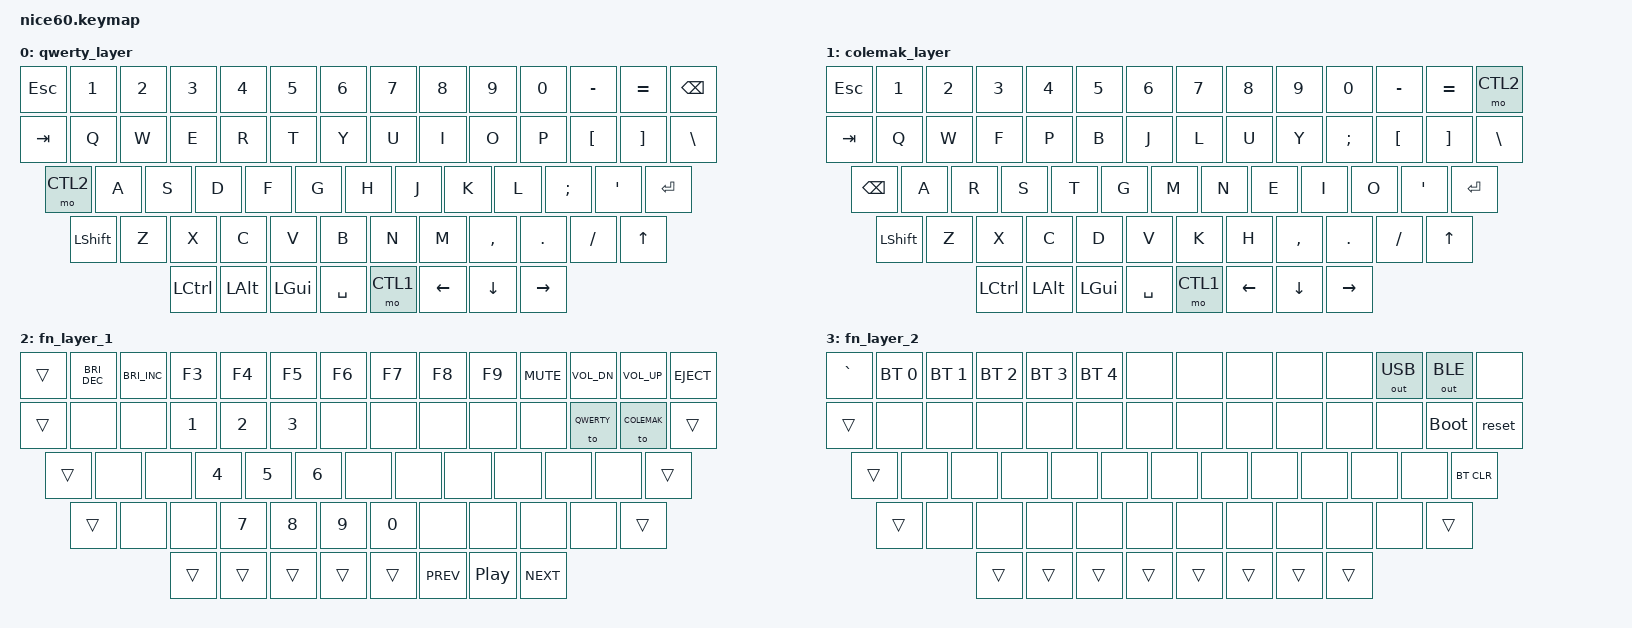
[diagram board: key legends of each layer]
/*
 * Copyright (c) 2020 The ZMK Contributors
 *
 * SPDX-License-Identifier: MIT
 */

#include <behaviors.dtsi>
#include <dt-bindings/zmk/keys.h>
#include <dt-bindings/zmk/bt.h>
#include <dt-bindings/zmk/outputs.h>

#define QWERTY 0
#define COLEMAK 1
#define CTL1 2
#define CTL2 3

/ {
	keymap0: keymap {
		compatible = "zmk,keymap";

		qwerty_layer {
			bindings = <
// ┌──────────┬───────────┬───────────┬───────────┬───────────┬───────────┬───────────┬───────────┬───────────┬───────────┬───────────┬───────────┬───────────┬──────────────────┐
     &kp ESC      &kp N1      &kp N2      &kp N3      &kp N4      &kp N5      &kp N6      &kp N7      &kp N8      &kp N9      &kp N0    &kp MINUS   &kp EQUAL        &kp BSPC
// ├──────────┴───┬───────┴───┬───────┴───┬───────┴───┬───────┴───┬───────┴───┬───────┴───┬───────┴───┬───────┴───┬───────┴───┬───────┴───┬───────┴───┬───────┴───┬──────────────┤
       &kp TAB        &kp Q       &kp W       &kp E       &kp R       &kp T       &kp Y       &kp U       &kp I       &kp O       &kp P      &kp LBKT    &kp RBKT      &kp BSLH
// ├──────────────┴──┬────────┴───┬───────┴────┬──────┴────┬──────┴────┬──────┴────┬──────┴────┬──────┴────┬──────┴────┬──────┴────┬──────┴────┬──────┴────┬──────┴──────────────┤
        &mo CTL2          &kp A        &kp S       &kp D       &kp F       &kp G       &kp H       &kp J       &kp K       &kp L      &kp SEMI    &kp SQT           &kp RET
// ├─────────────────┴────┬───────┴────┬───────┴────┬──────┴─────┬─────┴──────┬────┴───────┬───┴───────┬───┴───────┬───┴───────┬───┴───────┬───┴───────┬───┴─────────────────────┤
          &kp LSHFT            &kp Z        &kp X        &kp C        &kp V        &kp B       &kp N       &kp M     &kp COMMA    &kp DOT     &kp FSLH             &kp UP
// ├──────────────┬───────┴────────┬───┴────────────┼────────────┴────────────┴────────────┴───────────┴──────────┬┴───────────┴───┬───────┴───────┬───┴───────────┬─────────────┤
      &kp LCTRL        &kp LALT         &kp LGUI                               &kp SPACE                               &mo CTL1         &kp LEFT        &kp DOWN       &kp RIGHT
// └──────────────┴────────────────┴────────────────┴─────────────────────────────────────────────────────────────┴────────────────┴───────────────┴───────────────┴─────────────┘
			>;
		};

		colemak_layer {
			bindings = <
// ┌──────────┬───────────┬───────────┬───────────┬───────────┬───────────┬───────────┬───────────┬───────────┬───────────┬───────────┬───────────┬───────────┬──────────────────┐
     &kp ESC      &kp N1      &kp N2      &kp N3      &kp N4      &kp N5      &kp N6      &kp N7      &kp N8      &kp N9      &kp N0    &kp MINUS   &kp EQUAL        &mo CTL2
// ├──────────┴───┬───────┴───┬───────┴───┬───────┴───┬───────┴───┬───────┴───┬───────┴───┬───────┴───┬───────┴───┬───────┴───┬───────┴───┬───────┴───┬───────┴───┬──────────────┤
       &kp TAB        &kp Q       &kp W       &kp F       &kp P       &kp B       &kp J       &kp L       &kp U       &kp Y      &kp SEMI    &kp LBKT    &kp RBKT      &kp BSLH
// ├──────────────┴──┬────────┴───┬───────┴────┬──────┴────┬──────┴────┬──────┴────┬──────┴────┬──────┴────┬──────┴────┬──────┴────┬──────┴────┬──────┴────┬──────┴──────────────┤
        &kp BSPC          &kp A        &kp R       &kp S       &kp T       &kp G       &kp M       &kp N       &kp E       &kp I       &kp O      &kp SQT           &kp RET
// ├─────────────────┴────┬───────┴────┬───────┴────┬──────┴─────┬─────┴──────┬────┴───────┬───┴───────┬───┴───────┬───┴───────┬───┴───────┬───┴───────┬───┴─────────────────────┤
          &kp LSHFT            &kp Z        &kp X        &kp C        &kp D        &kp V       &kp K       &kp H     &kp COMMA    &kp DOT     &kp FSLH             &kp UP
// ├──────────────┬───────┴────────┬───┴────────────┼────────────┴────────────┴────────────┴───────────┴──────────┬┴───────────┴───┬───────┴───────┬───┴───────────┬─────────────┤
      &kp LCTRL        &kp LALT         &kp LGUI                               &kp SPACE                               &mo CTL1         &kp LEFT        &kp DOWN       &kp RIGHT
// └──────────────┴────────────────┴────────────────┴─────────────────────────────────────────────────────────────┴────────────────┴───────────────┴───────────────┴─────────────┘
			>;
		};

		fn_layer_1 {
			bindings = <
// ┌──────────────┬───────────────┬───────────────┬───────────────┬───────────────┬───────────────┬───────────────┬───────────────┬───────────────┬───────────────┬───────────────┬───────────────┬───────────────┬──────────────────────────┐
       &trans       &kp C_BRI_DEC   &kp C_BRI_INC       &kp F3          &kp F4          &kp F5          &kp F6          &kp F7          &kp F8          &kp F9        &kp C_MUTE     &kp C_VOL_DN    &kp C_VOL_UP           &kp C_EJECT
// ├──────────────┴─────┬─────────┴─────┬─────────┴─────┬─────────┴─────┬─────────┴─────┬─────────┴─────┬─────────┴─────┬─────────┴─────┬─────────┴─────┬─────────┴─────┬─────────┴─────┬─────────┴─────┬─────────┴─────┬────────────────────┤
          &trans              &none           &none           &kp N1          &kp N2          &kp N3          &none           &none           &none           &none           &none         &to QWERTY     &to COLEMAK           &trans
// ├────────────────────┴───┬───────────┴────┬──────────┴─────┬─────────┴─────┬─────────┴─────┬─────────┴─────┬─────────┴─────┬─────────┴─────┬─────────┴─────┬─────────┴─────┬─────────┴─────┬─────────┴─────┬─────────┴────────────────────┤
            &trans                 &none            &none           &kp N4          &kp N5          &kp N6          &none           &none           &none           &none           &none           &none                   &trans
// ├────────────────────────┴──────┬─────────┴──────┬─────────┴──────┬────────┴───────┬───────┴────────┬──────┴─────────┬─────┴─────────┬─────┴─────────┬─────┴─────────┬─────┴─────────┬─────┴─────────┬─────┴──────────────────────────────┤
                &trans                    &none            &none           &kp N7           &kp N8           &kp N9           &kp N0          &none           &none           &none           &none                      &trans
// ├───────────────────┬───────────┴─────────┬──────┴──────────────┬─┴────────────────┴────────────────┴────────────────┴───────────────┴───────────────┴─┬─────────────┴───────┬───────┴────────────┬──┴─────────────────┬──────────────────┤
          &trans                &trans                &trans                                                &trans                                                 &trans             &kp C_PREV            &kp C_PP            &kp C_NEXT
// └───────────────────┴─────────────────────┴─────────────────────┴──────────────────────────────────────────────────────────────────────────────────────┴─────────────────────┴────────────────────┴────────────────────┴──────────────────┘
			>;
		};

		fn_layer_2 {
			bindings = <
// ┌────────────┬──────────────┬──────────────┬──────────────┬──────────────┬──────────────┬──────────────┬──────────────┬──────────────┬──────────────┬──────────────┬──────────────┬──────────────┬────────────────────────┐
     &kp GRAVE    &bt BT_SEL 0   &bt BT_SEL 1   &bt BT_SEL 2   &bt BT_SEL 3   &bt BT_SEL 4       &none          &none          &none          &none          &none      &out OUT_USB   &out OUT_BLE             &none
// ├────────────┴─────┬────────┴─────┬────────┴─────┬────────┴─────┬────────┴─────┬────────┴─────┬────────┴─────┬────────┴─────┬────────┴─────┬────────┴─────┬────────┴─────┬────────┴─────┬────────┴─────┬──────────────────┤
         &trans             &none          &none          &none          &none          &none          &none          &none          &none          &none          &none          &none       &bootloader         &reset
// ├──────────────────┴───┬──────────┴────┬─────────┴─────┬────────┴─────┬────────┴─────┬────────┴─────┬────────┴─────┬────────┴─────┬────────┴─────┬────────┴─────┬────────┴─────┬────────┴─────┬────────┴──────────────────┤
           &trans               &none           &none           &none          &none          &none          &none          &none          &none          &none          &none          &none               &bt BT_CLR
// ├──────────────────────┴─────┬─────────┴─────┬─────────┴─────┬────────┴──────┬───────┴───────┬──────┴────────┬─────┴────────┬─────┴────────┬─────┴────────┬─────┴────────┬─────┴────────┬─────┴───────────────────────────┤
              &trans                  &none           &none           &none           &none           &none           &none          &none          &none          &none          &none                    &trans
// ├──────────────────┬─────────┴──────────┬────┴──────────────┬┴───────────────┴───────────────┴───────────────┴──────────────┴──────────────┴┬─────────────┴─────┬────────┴──────────┬───┴───────────────┬─────────────────┤
         &trans               &trans               &trans                                            &trans                                            &trans              &trans              &trans              &trans
// └──────────────────┴────────────────────┴───────────────────┴───────────────────────────────────────────────────────────────────────────────┴───────────────────┴───────────────────┴───────────────────┴─────────────────┘
			>;
		};
	};
};
